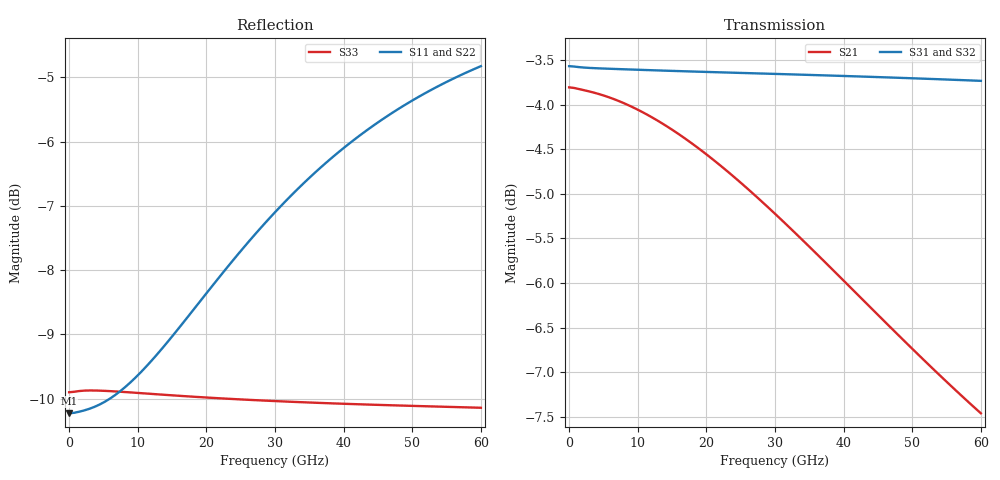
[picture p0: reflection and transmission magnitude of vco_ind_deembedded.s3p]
! Created with skrf 2.1.0 (http://scikit-rf.org).
# GHz S DB R 50.0
!freq dBS11 angS11 dBS12 angS12 dBS13 angS13
! dBS21 angS21 dBS22 angS22 dBS23 angS23
! dBS31 angS31 dBS32 angS32 dBS33 angS33
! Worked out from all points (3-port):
!   82 points, 10 MHz to 60 GHz, reference 50 ohm
!   strongest paths, dB at 10 MHz, 14.25 GHz, 30 GHz, 45 GHz, 60 GHz:
!     S31: -3.6, -3.6, -3.7, -3.7, -3.7
!     S32: -3.6, -3.7, -3.8, -3.8, -3.8
!     S21: -3.8, -4.2, -5.2, -6.4, -7.5
!   lowest |S11| = -10.2 dB at 10 MHz (marker M1), VSWR 1.89, Z = 26.4 + j0.0127 ohm
!   |S11| at or under -10 dB: start of sweep to 5.921 GHz
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0.01  -10.23 180.0  -3.81 -0.0  -3.57 -0.0
      -3.81 -0.0  -10.40 180.0  -3.65 -0.0
      -3.57 -0.0  -3.65 -0.0  -9.90 180.0
3.75  -10.12 164.7  -3.87 -7.6  -3.59 -1.2
      -3.87 -7.6  -10.29 164.3  -3.67 -1.3
      -3.59 -1.2  -3.67 -1.3  -9.87 177.7
7.5  -9.88 150.0  -3.97 -14.9  -3.60 -2.3
     -3.97 -14.9  -10.01 149.3  -3.68 -2.4
     -3.60 -2.3  -3.68 -2.4  -9.89 175.4
15.75  -8.93 121.9  -4.32 -30.4  -3.62 -4.7
       -4.32 -30.4  -8.99 120.8  -3.71 -4.9
       -3.62 -4.7  -3.71 -4.9  -9.95 170.6
23.25  -7.93 101.6  -4.76 -43.8  -3.64 -6.9
       -4.76 -43.8  -7.93 100.4  -3.74 -7.2
       -3.64 -6.9  -3.74 -7.2  -10.00 166.5
30.75  -7.02 85.1  -5.28 -56.5  -3.66 -9.1
       -5.28 -56.5  -6.97 84.0  -3.76 -9.4
       -3.66 -9.1  -3.76 -9.4  -10.04 162.5
37.5  -6.32 72.8  -5.78 -67.5  -3.67 -11.1
      -5.78 -67.5  -6.26 71.7  -3.78 -11.4
      -3.67 -11.1  -3.78 -11.4  -10.07 159.0
44.25  -5.76 62.2  -6.30 -78.0  -3.69 -13.1
       -6.30 -78.0  -5.69 61.2  -3.80 -13.4
       -3.69 -13.1  -3.80 -13.4  -10.09 155.6
51.75  -5.26 52.0  -6.87 -89.3  -3.71 -15.4
       -6.87 -89.3  -5.18 51.0  -3.82 -15.7
       -3.71 -15.4  -3.82 -15.7  -10.12 151.8
60  -4.83 42.2  -7.46 -101.2  -3.73 -17.9
    -7.46 -101.2  -4.75 41.1  -3.84 -18.3
    -3.73 -17.9  -3.84 -18.3  -10.14 147.8
